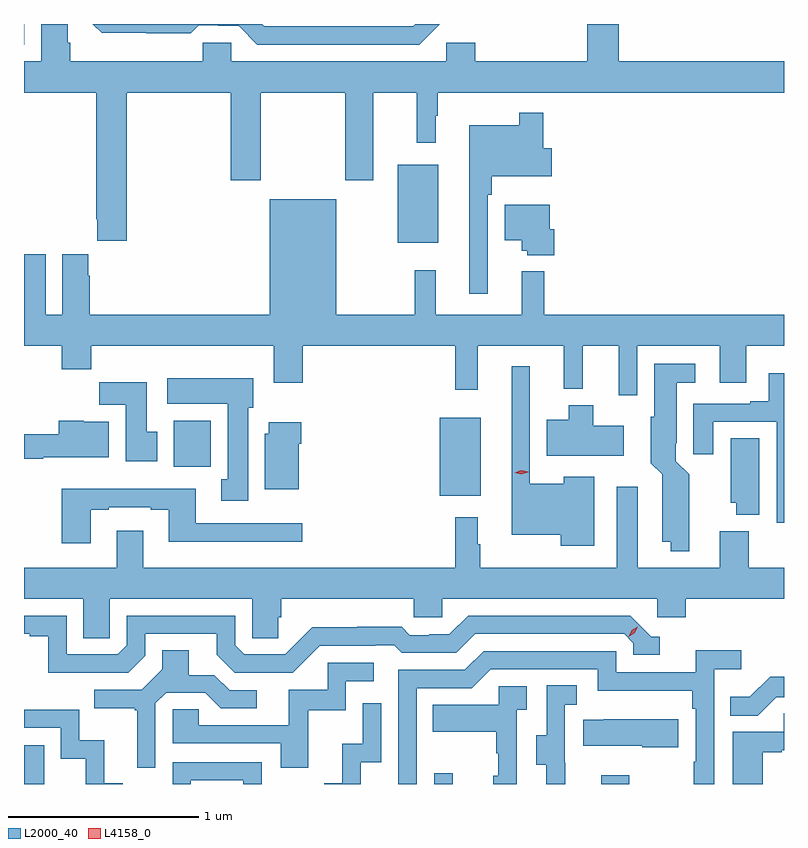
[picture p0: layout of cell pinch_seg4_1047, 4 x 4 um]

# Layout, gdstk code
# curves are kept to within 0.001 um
import gdstk
lib = gdstk.Library(unit=1e-6, precision=1e-09)
def R(c, l, rs):  # rectangles x0, y0, x1, y1
    for r in rs: c.add(gdstk.rectangle(r[:2], r[2:], *l))
def P(c, l, *ps):  # polygons
    for p in ps: c.add(gdstk.Polygon(p, *l))
L2000_40 = (2000, 40)
L4158_0 = (4158, 0)

pinch_seg4_1047 = lib.new_cell('pinch_seg4_1047')
R(pinch_seg4_1047, L2000_40, [(851.146,763.877,851.253,764.082), (853.305,763.877,853.403,763.933), (854.183,763.877,854.331,763.924), (853.334,765.395,853.549,765.805), (851.933,765.548,852.13,765.79), (853.112,766.727,853.327,767.137), (851.146,767.769,851.148,767.877)])
P(pinch_seg4_1047, L2000_40, [(851.687,767.516),(852.233,767.516),(852.233,767.055),(852.393,767.055),(852.393,767.516),(852.838,767.516),(852.838,767.055),(852.985,767.055),(852.985,767.516),(853.213,767.516),(853.213,767.253),(853.312,767.253),(853.312,767.393),(853.324,767.393),(853.324,767.516),(855.146,767.516),(855.146,767.68),(854.276,767.68),(854.276,767.877),(854.111,767.877),(854.111,767.68),(853.52,767.68),(853.52,767.778),(853.368,767.778),(853.368,767.68),(852.237,767.68),(852.237,767.778),(852.087,767.778),(852.087,767.68),(851.39,767.68),(851.39,767.778),(851.375,767.778),(851.375,767.877),(851.238,767.877),(851.238,767.68),(851.146,767.68),(851.146,767.516),(851.527,767.516),(851.527,766.849),(851.531,766.849),(851.531,766.737),(851.687,766.737)],
  [(853.335,767.877),(853.206,767.877),(853.194,767.865),(852.411,767.865),(852.399,767.877),(851.508,767.877),(851.554,767.831),(851.79,767.831),(851.79,767.829),(852.023,767.829),(852.065,767.871),(852.168,767.871),(852.168,767.868),(852.275,767.868),(852.374,767.769),(853.227,767.769)],
  [(853.587,766.979),(853.607,766.979),(853.607,767.075),(853.924,767.075),(853.924,767.223),(853.88,767.223),(853.88,767.41),(853.752,767.41),(853.752,767.344),(853.49,767.344),(853.49,766.458),(853.587,766.458)],
  [(854.373,766.184),(854.807,766.184),(854.807,765.99),(854.947,765.99),(854.947,766.184),(855.146,766.184),(855.146,766.348),(853.883,766.348),(853.883,766.576),(853.766,766.576),(853.766,766.348),(853.313,766.348),(853.313,766.582),(853.203,766.582),(853.203,766.348),(852.79,766.348),(852.79,766.954),(852.44,766.954),(852.44,766.348),(851.492,766.348),(851.492,766.553),(851.485,766.553),(851.485,766.666),(851.348,766.666),(851.348,766.348),(851.26,766.348),(851.26,766.666),(851.146,766.666),(851.146,766.184),(851.345,766.184),(851.345,766.06),(851.501,766.06),(851.501,766.184),(852.461,766.184),(852.461,765.99),(852.614,765.99),(852.614,766.184),(853.417,766.184),(853.417,765.951),(853.535,765.951),(853.535,766.184),(853.988,766.184),(853.988,765.956),(854.087,765.956),(854.087,766.184),(854.276,766.184),(854.276,765.924),(854.373,765.924)],
  [(853.937,766.797),(853.912,766.797),(853.912,766.927),(853.676,766.927),(853.676,766.739),(853.766,766.739),(853.766,766.683),(853.794,766.683),(853.794,766.661),(853.937,766.661)],
  [(854.646,765.404),(854.647,765.506),(854.577,765.576),(854.577,765.67),(854.581,765.67),(854.581,765.989),(854.68,765.989),(854.68,766.09),(854.462,766.09),(854.462,765.81),(854.444,765.81),(854.444,765.565),(854.504,765.506),(854.504,765.152),(854.549,765.152),(854.549,765.101),(854.646,765.101)],
  [(854.146,765.493),(853.988,765.493),(853.988,765.457),(853.809,765.457),(853.809,766.075),(853.712,766.075),(853.712,765.188),(853.971,765.188),(853.971,765.131),(854.146,765.131)],
  [(855.146,766.039),(855.065,766.039),(855.065,765.892),(854.969,765.892),(854.969,765.879),(854.669,765.879),(854.669,765.612),(854.773,765.612),(854.773,765.783),(855.107,765.783),(855.107,765.252),(855.146,765.252)],
  [(852.325,765.858),(852.352,765.858),(852.352,766.012),(851.901,766.012),(851.901,765.878),(852.218,765.878),(852.218,765.482),(852.185,765.482),(852.185,765.369),(852.325,765.369)],
  [(851.848,765.732),(851.791,765.732),(851.791,765.991),(851.542,765.991),(851.542,765.872),(851.681,765.872),(851.681,765.576),(851.848,765.576)],
  [(854.302,765.763),(854.142,765.763),(854.142,765.871),(854.012,765.871),(854.012,765.793),(853.898,765.793),(853.898,765.605),(854.302,765.605)],
  [(851.246,765.596),(851.593,765.596),(851.593,765.784),(851.46,765.784),(851.46,765.79),(851.33,765.79),(851.33,765.718),(851.146,765.718),(851.146,765.589),(851.246,765.589)],
  [(852.592,765.668),(852.605,765.668),(852.605,765.781),(852.434,765.781),(852.434,765.72),(852.413,765.72),(852.413,765.428),(852.592,765.428)],
  [(855.016,765.698),(854.867,765.698),(854.867,765.357),(854.894,765.357),(854.894,765.293),(855.016,765.293)],
  [(851.598,764.852),(852.348,764.852),(852.348,764.644),(852.485,764.644),(852.485,764.754),(852.5,764.754),(852.5,764.852),(853.197,764.852),(853.197,764.754),(853.347,764.754),(853.347,764.852),(854.478,764.852),(854.478,764.754),(854.63,764.754),(854.63,764.852),(855.146,764.852),(855.146,765.016),(854.96,765.016),(854.96,765.208),(854.807,765.208),(854.807,765.016),(854.377,765.016),(854.377,765.442),(854.267,765.442),(854.267,765.016),(853.546,765.016),(853.546,765.14),(853.534,765.14),(853.534,765.28),(853.417,765.28),(853.417,765.016),(851.773,765.016),(851.773,765.211),(851.633,765.211),(851.633,765.016),(851.146,765.016),(851.146,764.852),(851.459,764.852),(851.459,764.644),(851.598,764.644)],
  [(851.497,765.321),(851.593,765.321),(851.593,765.333),(851.813,765.333),(851.813,765.321),(851.909,765.321),(851.909,765.152),(852.61,765.152),(852.61,765.249),(852.049,765.249),(852.049,765.43),(851.345,765.43),(851.345,765.144),(851.497,765.144)],
  [(851.478,764.463),(851.694,764.463),(851.784,764.553),(851.784,764.667),(852.161,764.667),(852.161,764.557),(852.255,764.463),(852.561,764.463),(852.702,764.604),(852.995,764.604),(852.995,764.607),(853.094,764.607),(853.133,764.568),(853.422,764.568),(853.521,764.667),(854.304,764.667),(854.352,764.619),(854.352,764.556),(854.491,764.556),(854.491,764.652),(854.448,764.652),(854.337,764.763),(853.484,764.763),(853.385,764.664),(853.278,764.664),(853.278,764.661),(853.175,764.661),(853.133,764.704),(852.9,764.704),(852.9,764.701),(852.664,764.701),(852.522,764.559),(852.306,764.559),(852.258,764.607),(852.258,764.763),(851.688,764.763),(851.688,764.607),(851.64,764.559),(851.37,764.559),(851.37,764.763),(851.146,764.763),(851.146,764.667),(851.177,764.667),(851.177,764.655),(851.273,764.655),(851.273,764.462)],
  [(853.212,764.382),(853.503,764.382),(853.602,764.481),(854.166,764.481),(854.166,764.369),(854.662,764.369),(854.662,764.273),(854.682,764.273),(854.682,763.994),(854.67,763.994),(854.67,763.877),(854.778,763.877),(854.778,764.48),(854.92,764.48),(854.92,764.582),(854.681,764.582),(854.681,764.466),(854.262,764.466),(854.262,764.577),(853.565,764.577),(853.466,764.478),(853.116,764.478),(853.116,763.877),(853.212,763.877)],
  [(851.838,764.301),(851.895,764.358),(852.101,764.358),(852.182,764.277),(852.37,764.277),(852.37,764.37),(852.228,764.37),(852.148,764.45),(852.013,764.45),(852.013,764.582),(851.873,764.582),(851.873,764.48),(851.766,764.373),(851.517,764.373),(851.517,764.276),(851.73,764.276),(851.73,764.265),(851.741,764.265),(851.741,763.962),(851.838,763.962)],
  [(852.641,764.265),(852.84,764.265),(852.84,764.418),(852.988,764.418),(852.988,764.514),(852.744,764.514),(852.744,764.373),(852.539,764.373),(852.539,764.187),(852.065,764.187),(852.065,764.271),(851.928,764.271),(851.928,764.091),(852.497,764.091),(852.497,763.962),(852.641,763.962)],
  [(855.105,764.334),(855.146,764.334),(855.146,764.442),(855.074,764.442),(854.967,764.335),(854.863,764.335),(854.863,764.236),(855.007,764.236)],
  [(853.994,763.989),(853.992,763.989),(853.992,764.293),(854.056,764.293),(854.056,764.396),(853.896,764.396),(853.896,764.133),(853.841,764.133),(853.841,763.978),(853.895,763.978),(853.895,763.877),(853.994,763.877)],
  [(853.74,764.267),(853.792,764.267),(853.792,764.391),(853.644,764.391),(853.644,764.293),(853.297,764.293),(853.297,764.153),(853.632,764.153),(853.632,764.039),(853.642,764.039),(853.642,763.92),(853.616,763.92),(853.616,763.877),(853.74,763.877)],
  [(852.918,763.992),(853.026,763.992),(853.026,764.302),(852.93,764.302),(852.93,764.09),(852.821,764.09),(852.821,763.882),(852.725,763.882),(852.725,763.877),(852.918,763.877)],
  [(851.665,763.882),(851.569,763.882),(851.569,764.107),(851.436,764.107),(851.436,764.268),(851.146,764.268),(851.146,764.172),(851.34,764.172),(851.34,764.009),(851.472,764.009),(851.472,763.877),(851.665,763.877)],
  [(855.034,764.043),(855.134,764.043),(855.134,764.055),(855.146,764.055),(855.146,764.249),(855.145,764.249),(855.145,764.151),(854.876,764.151),(854.876,763.877),(855.034,763.877)],
  [(854.59,764.218),(854.197,764.218),(854.197,764.215),(854.089,764.215),(854.089,764.078),(854.399,764.078),(854.399,764.071),(854.59,764.071)],
  [(852.024,763.896),(852.3,763.896),(852.3,763.877),(852.396,763.877),(852.396,763.992),(851.928,763.992),(851.928,763.877),(852.024,763.877)])
P(pinch_seg4_1047, L4158_0, [(853.764,765.508),(853.728,765.516),(853.728,765.516),(853.728,765.516),(853.763,765.528),(853.799,765.52),(853.799,765.52),(853.799,765.519)],
  [(854.329,764.652),(854.329,764.652),(854.345,764.685),(854.375,764.705),(854.376,764.705),(854.376,764.705),(854.36,764.672),(854.329,764.652)])

lib.write_gds('pinch_seg4_1047.gds')
